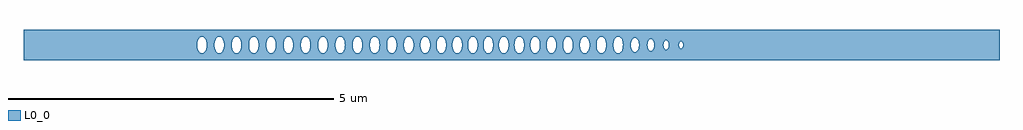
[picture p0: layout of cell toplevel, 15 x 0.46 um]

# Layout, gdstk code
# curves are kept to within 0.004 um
import gdstk
lib = gdstk.Library(unit=1e-6, precision=1e-09)
def P(c, l, *ps):  # polygons
    for p in ps: c.add(gdstk.Polygon(p, *l))
L0_0 = (0, 0)

toplevel = lib.new_cell('toplevel')
P(toplevel, L0_0, [(-4.299,0.016),(-4.286,0.077),(-4.27,0.106),(-4.253,0.121),(-4.253,0.231),(-7.5,0.231),(-7.5,-0.016),(-4.831,-0.016),(-4.828,0.04),(-4.817,0.077),(-4.789,0.118),(-4.762,0.13),(-4.734,0.124),(-4.706,0.095),(-4.688,0.048),(-4.683,0),(-4.566,0),(-4.559,0.056),(-4.539,0.101),(-4.51,0.126),(-4.478,0.128),(-4.448,0.106),(-4.434,0.083),(-4.424,0.056),(-4.417,0),(-4.424,-0.056),(-4.434,-0.083),(-4.46,-0.118),(-4.487,-0.13),(-4.514,-0.124),(-4.539,-0.101),(-4.559,-0.056),(-4.566,0),(-4.683,0),(-4.688,-0.048),(-4.706,-0.095),(-4.726,-0.118),(-4.752,-0.13),(-4.776,-0.126),(-4.801,-0.106),(-4.82,-0.07),(-4.831,-0.016),(-7.5,-0.016),(-7.5,-0.231),(-4.253,-0.231),(-4.253,-0.121),(-4.27,-0.106),(-4.289,-0.07),(-4.299,-0.024)],
  [(-4.244,0.126),(-4.212,0.128),(-4.182,0.106),(-4.155,0.04),(-4.152,-0.016),(-4.034,-0.016),(-4.031,0.04),(-4.023,0.07),(-4.008,0.101),(-3.979,0.126),(-3.947,0.128),(-3.913,0.101),(-3.893,0.056),(-3.886,-0.008),(-3.769,-0.008),(-3.764,0.048),(-3.746,0.095),(-3.718,0.124),(-3.681,0.128),(-3.651,0.106),(-3.632,0.07),(-3.624,0.04),(-3.621,-0.016),(-3.632,-0.07),(-3.644,-0.095),(-3.663,-0.118),(-3.69,-0.13),(-3.718,-0.124),(-3.746,-0.095),(-3.762,-0.056),(-3.769,-0.008),(-3.886,-0.008),(-3.893,-0.056),(-3.906,-0.089),(-3.929,-0.118),(-3.956,-0.13),(-3.983,-0.124),(-4.008,-0.101),(-4.023,-0.07),(-4.034,-0.016),(-4.152,-0.016),(-4.163,-0.07),(-4.182,-0.106),(-4.203,-0.124),(-4.221,-0.13),(-4.253,-0.121),(-4.253,-0.231),(-3.48,-0.231),(-3.48,-0.095),(-3.492,-0.07),(-3.503,-0.016),(-3.5,0.04),(-3.48,0.095),(-3.48,0.231),(-4.253,0.231),(-4.253,0.121)],
  [(-3.48,0.231),(-3.48,0.095),(-3.461,0.118),(-3.443,0.128),(-3.415,0.128),(-3.398,0.118),(-3.382,0.101),(-3.364,0.063),(-3.355,-0.008),(-3.238,-0.008),(-3.233,0.048),(-3.218,0.089),(-3.195,0.118),(-3.168,0.13),(-3.141,0.124),(-3.116,0.101),(-3.101,0.07),(-3.09,0.016),(-3.093,-0.04),(-3.104,-0.077),(-3.132,-0.118),(-3.159,-0.13),(-3.187,-0.124),(-3.211,-0.101),(-3.229,-0.063),(-3.238,-0.008),(-3.355,-0.008),(-3.369,-0.077),(-3.382,-0.101),(-3.406,-0.124),(-3.443,-0.128),(-3.461,-0.118),(-3.48,-0.095),(-3.48,-0.231),(-2.825,-0.231),(-2.825,-0.027),(-2.833,-0.063),(-2.851,-0.101),(-2.875,-0.124),(-2.903,-0.13),(-2.93,-0.118),(-2.949,-0.095),(-2.961,-0.07),(-2.972,-0.016),(-2.969,0.04),(-2.961,0.07),(-2.942,0.106),(-2.912,0.128),(-2.884,0.128),(-2.858,0.11),(-2.838,0.077),(-2.825,0.024),(-2.825,0.231)],
  [(-2.825,-0.231),(-2.107,-0.231),(-2.107,-0.13),(-2.134,-0.118),(-2.153,-0.095),(-2.165,-0.07),(-2.176,-0.016),(-2.174,0.032),(-2.162,0.077),(-2.134,0.118),(-2.107,0.13),(-2.107,0.231),(-2.825,0.231),(-2.824,-0.008),(-2.707,-0.008),(-2.7,0.056),(-2.687,0.089),(-2.664,0.118),(-2.637,0.13),(-2.61,0.124),(-2.585,0.101),(-2.562,0.04),(-2.559,-0.008),(-2.441,-0.008),(-2.439,0.032),(-2.427,0.077),(-2.399,0.118),(-2.372,0.13),(-2.344,0.124),(-2.323,0.106),(-2.304,0.07),(-2.293,0.016),(-2.295,-0.032),(-2.307,-0.077),(-2.335,-0.118),(-2.362,-0.13),(-2.39,-0.124),(-2.411,-0.106),(-2.43,-0.07),(-2.441,-0.008),(-2.559,-0.008),(-2.566,-0.056),(-2.585,-0.101),(-2.605,-0.121),(-2.628,-0.13),(-2.655,-0.124),(-2.68,-0.101),(-2.7,-0.056),(-2.707,-0.008),(-2.824,-0.008)],
  [(-1.4,-0.016),(-1.397,0.231),(-2.107,0.231),(-2.107,0.13),(-2.079,0.124),(-2.051,0.095),(-2.033,0.048),(-2.029,-0.016),(-1.913,-0.016),(-1.91,0.04),(-1.899,0.077),(-1.871,0.118),(-1.844,0.13),(-1.816,0.124),(-1.792,0.101),(-1.772,0.056),(-1.765,0),(-1.655,0),(-1.651,0.04),(-1.638,0.083),(-1.612,0.118),(-1.585,0.13),(-1.558,0.124),(-1.533,0.101),(-1.515,0.063),(-1.506,0.008),(-1.513,-0.056),(-1.526,-0.089),(-1.549,-0.118),(-1.576,-0.13),(-1.603,-0.124),(-1.628,-0.101),(-1.647,-0.056),(-1.655,0),(-1.765,0),(-1.77,-0.048),(-1.785,-0.089),(-1.808,-0.118),(-1.835,-0.13),(-1.862,-0.124),(-1.887,-0.101),(-1.902,-0.07),(-1.913,-0.016),(-2.029,-0.016),(-2.039,-0.07),(-2.058,-0.106),(-2.079,-0.124),(-2.107,-0.13),(-2.107,-0.231),(-1.397,-0.231)],
  [(-1.397,0.231),(-1.397,0.04),(-1.384,0.083),(-1.37,0.106),(-1.349,0.124),(-1.322,0.13),(-1.295,0.118),(-1.272,0.089),(-1.259,0.056),(-1.252,-0.008),(-1.152,-0.008),(-1.147,0.048),(-1.132,0.089),(-1.101,0.124),(-1.073,0.13),(-1.05,0.121),(-1.03,0.101),(-1.015,0.07),(-1.004,0.016),(-1.007,-0.04),(-1.018,-0.077),(-1.046,-0.118),(-1.073,-0.13),(-1.101,-0.124),(-1.125,-0.101),(-1.143,-0.063),(-1.152,-0.008),(-1.252,-0.008),(-1.259,-0.056),(-1.272,-0.089),(-1.295,-0.118),(-1.322,-0.13),(-1.345,-0.126),(-1.37,-0.106),(-1.397,-0.042),(-1.397,-0.231),(-0.76,-0.231),(-0.76,-0.019),(-0.771,-0.07),(-0.786,-0.101),(-0.811,-0.124),(-0.838,-0.13),(-0.865,-0.118),(-0.888,-0.089),(-0.903,-0.048),(-0.908,-0.008),(-0.903,0.048),(-0.888,0.089),(-0.865,0.118),(-0.838,0.13),(-0.811,0.124),(-0.786,0.101),(-0.771,0.07),(-0.76,0.016),(-0.76,0.231)],
  [(-0.052,-0.231),(-0.052,-0.057),(-0.071,-0.101),(-0.087,-0.118),(-0.109,-0.129),(-0.132,-0.128),(-0.15,-0.118),(-0.173,-0.089),(-0.188,-0.048),(-0.193,-0.008),(-0.188,0.048),(-0.179,0.077),(-0.166,0.101),(-0.142,0.124),(-0.114,0.13),(-0.087,0.118),(-0.071,0.101),(-0.052,0.056),(-0.052,0.231),(-0.76,0.231),(-0.76,-0.008),(-0.668,-0.008),(-0.663,0.048),(-0.648,0.089),(-0.625,0.118),(-0.598,0.13),(-0.571,0.124),(-0.546,0.101),(-0.523,0.04),(-0.52,-0.008),(-0.43,-0.008),(-0.425,0.048),(-0.407,0.095),(-0.379,0.124),(-0.36,0.13),(-0.337,0.126),(-0.312,0.106),(-0.293,0.07),(-0.282,0.016),(-0.285,-0.04),(-0.296,-0.077),(-0.324,-0.118),(-0.351,-0.13),(-0.379,-0.124),(-0.407,-0.095),(-0.423,-0.056),(-0.43,-0.008),(-0.52,-0.008),(-0.527,-0.056),(-0.546,-0.101),(-0.566,-0.121),(-0.589,-0.13),(-0.617,-0.124),(-0.641,-0.101),(-0.659,-0.063),(-0.668,-0.008),(-0.76,-0.008),(-0.76,-0.231)],
  [(0.609,-0.231),(0.609,-0.13),(0.586,-0.121),(0.566,-0.101),(0.547,-0.056),(0.539,0),(0.547,0.056),(0.566,0.101),(0.586,0.121),(0.609,0.13),(0.609,0.231),(-0.052,0.231),(-0.052,0.056),(-0.045,-0.008),(0.046,-0.008),(0.048,0.032),(0.06,0.077),(0.084,0.114),(0.115,0.13),(0.143,0.124),(0.171,0.095),(0.191,0.04),(0.194,0),(0.289,0),(0.293,0.04),(0.306,0.083),(0.332,0.118),(0.359,0.13),(0.386,0.124),(0.411,0.101),(0.429,0.063),(0.438,0.008),(0.431,-0.056),(0.418,-0.089),(0.395,-0.118),(0.368,-0.13),(0.341,-0.124),(0.316,-0.101),(0.297,-0.056),(0.289,0),(0.194,0),(0.191,-0.04),(0.171,-0.095),(0.152,-0.118),(0.125,-0.13),(0.097,-0.124),(0.069,-0.095),(0.053,-0.056),(0.046,-0.008),(-0.045,-0.008),(-0.052,-0.056),(-0.052,-0.231)],
  [(0.682,-0.048),(0.674,-0.077),(0.657,-0.106),(0.636,-0.124),(0.609,-0.13),(0.609,-0.231),(1.372,-0.231),(1.372,-0.129),(1.349,-0.118),(1.33,-0.095),(1.318,-0.07),(1.307,-0.016),(1.31,0.04),(1.321,0.077),(1.337,0.106),(1.372,0.129),(1.372,0.231),(0.609,0.231),(0.609,0.13),(0.641,0.121),(0.668,0.089),(0.681,0.056),(0.688,-0.008),(0.794,-0.008),(0.799,0.048),(0.814,0.089),(0.837,0.118),(0.864,0.13),(0.891,0.124),(0.916,0.101),(0.939,0.04),(0.942,-0.016),(1.051,-0.016),(1.054,0.04),(1.062,0.07),(1.081,0.106),(1.111,0.128),(1.139,0.128),(1.156,0.118),(1.179,0.089),(1.192,0.056),(1.199,-0.008),(1.19,-0.063),(1.172,-0.101),(1.139,-0.128),(1.106,-0.126),(1.077,-0.101),(1.062,-0.07),(1.051,-0.016),(0.942,-0.016),(0.931,-0.07),(0.916,-0.101),(0.896,-0.121),(0.873,-0.13),(0.845,-0.124),(0.821,-0.101),(0.803,-0.063),(0.794,-0.008),(0.688,-0.008)],
  [(1.372,0.231),(1.372,0.129),(1.404,0.124),(1.432,0.095),(1.45,0.048),(1.454,-0.016),(1.566,-0.016),(1.569,0.04),(1.58,0.077),(1.608,0.118),(1.635,0.13),(1.663,0.124),(1.691,0.095),(1.709,0.048),(1.713,-0.014),(1.833,-0.014),(1.836,0.035),(1.847,0.071),(1.862,0.095),(1.892,0.112),(1.912,0.109),(1.934,0.091),(1.948,0.066),(1.96,0.014),(1.957,-0.035),(1.948,-0.066),(1.931,-0.095),(1.912,-0.109),(1.884,-0.11),(1.862,-0.095),(1.845,-0.066),(1.833,-0.014),(1.713,-0.014),(1.707,-0.056),(1.691,-0.095),(1.663,-0.124),(1.644,-0.13),(1.621,-0.126),(1.596,-0.106),(1.577,-0.07),(1.566,-0.016),(1.454,-0.016),(1.446,-0.063),(1.428,-0.101),(1.404,-0.124),(1.372,-0.129),(1.372,-0.231),(2.089,-0.231),(2.089,0.231)],
  [(2.09,0.018),(2.108,0.072),(2.129,0.091),(2.146,0.094),(2.165,0.085),(2.183,0.06),(2.195,0.018),(2.195,-0.009),(2.335,-0.009),(2.346,0.052),(2.364,0.072),(2.383,0.075),(2.411,0.048),(2.42,0),(2.573,0),(2.585,0.044),(2.61,0.057),(2.632,0.034),(2.638,-0.011),(2.625,-0.046),(2.602,-0.057),(2.582,-0.039),(2.573,0),(2.42,0),(2.409,-0.052),(2.391,-0.072),(2.372,-0.075),(2.346,-0.052),(2.335,-0.009),(2.195,-0.009),(2.189,-0.045),(2.174,-0.076),(2.156,-0.091),(2.139,-0.094),(2.12,-0.085),(2.101,-0.06),(2.089,-0.006),(2.089,-0.231),(7.5,-0.231),(7.5,0.231),(2.089,0.231)])

lib.write_gds('toplevel.gds')
